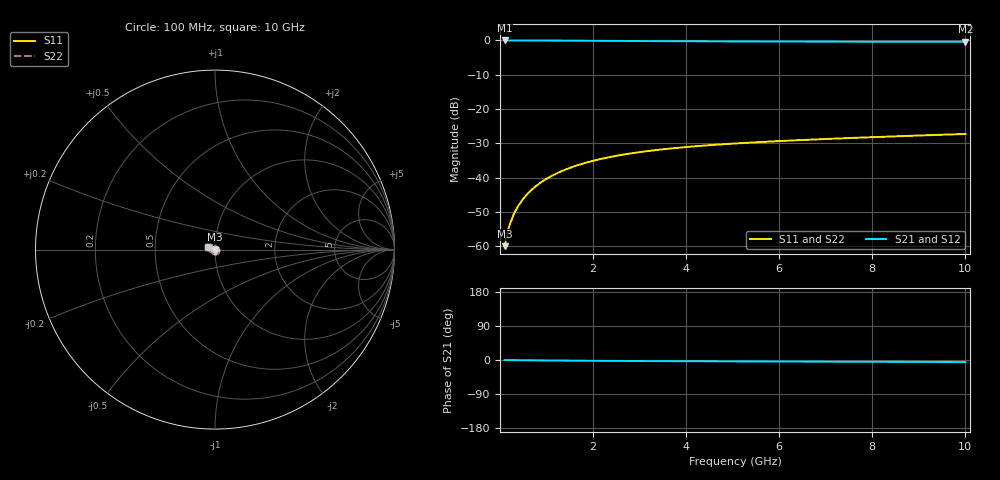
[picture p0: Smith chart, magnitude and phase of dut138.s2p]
! Touchstone file exported from HFSS 2024.1.0
!  File:  C:/UserFiles/LocalFiles/RDL_TSV_Batchsim/temp_TSV1_138_1779380229.aedt
!  Generated:  12:24:57 AM May 22, 2026
!  Design:  TSV1
!  Project:  temp_TSV1_138_1779380229
!  Setup:  Setup1
!  Solution:  Sweep
! Variables:
!  dtsv = 8.49um
!  hbump = 3um
!  htsv = 82.73um
!  lrdl = 252.1521522um
!  p = 40
!  p1 = 54.57um
!  t = 500um
!  trdl = 3um
!  wrdl = 24.89489489um
# GHz S MA R 50.000000
! Terminal data exported
! Port[1] = TSV22_T1
! Port[2] = TSV22_T2
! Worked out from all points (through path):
!   100 points, 100 MHz to 10 GHz, reference 50 ohm
!   highest |S21| = 0.00 dB at 100 MHz (marker M1); lowest = -0.4 dB at 10 GHz (marker M2)
!   lowest |S11| = -59.9 dB at 100 MHz (marker M3), VSWR 1.00, Z = 50 - j0.0994 ohm
!   |S11| at or under -10 dB: start of sweep to end of sweep
!   |S22| runs from -59.9 to -27.2 dB; largest |S21 - S12| = 3.5e-15
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0.1  0.001008 -80.4  0.9998 -0.1  0.9998 -0.1  0.001008 -80.4
! Gamma 0 0 0 0
! Port Impedance 50 0 50 0
0.2  0.001992 -88.0  0.9996 -0.2  0.9996 -0.2  0.001992 -88.0
0.3  0.002982 -92.0  0.9994 -0.4  0.9994 -0.4  0.002982 -92.0
0.4  0.003967 -95.1  0.9992 -0.5  0.9992 -0.5  0.003967 -95.1
0.5  0.004944 -97.7  0.9989 -0.6  0.9989 -0.6  0.004944 -97.7
0.6  0.005911 -100.1  0.9985 -0.7  0.9985 -0.7  0.005911 -100.1
0.7  0.006866 -102.4  0.998 -0.8  0.998 -0.8  0.006866 -102.5
0.8  0.007807 -104.7  0.9975 -0.9  0.9975 -0.9  0.007807 -104.7
0.9  0.008733 -106.8  0.997 -1.1  0.997 -1.1  0.008733 -106.8
1.1  0.01053 -111.0  0.9957 -1.3  0.9957 -1.3  0.01053 -111.0
1.4  0.01309 -116.8  0.9936 -1.6  0.9936 -1.6  0.01309 -116.8
1.6  0.0147 -120.6  0.992 -1.7  0.992 -1.7  0.0147 -120.6
1.8  0.01621 -124.2  0.9903 -1.9  0.9903 -1.9  0.01621 -124.2
2.1  0.01833 -129.3  0.9878 -2.2  0.9878 -2.2  0.01833 -129.3
2.5  0.02087 -135.7  0.9845 -2.4  0.9845 -2.4  0.02087 -135.7
2.9  0.0231 -141.6  0.9813 -2.7  0.9813 -2.7  0.0231 -141.6
3.4  0.02553 -148.4  0.9776 -2.9  0.9776 -2.9  0.02553 -148.4
4.2  0.02875 -157.9  0.9725 -3.3  0.9725 -3.3  0.02875 -157.9
5.1  0.0317 -167.1  0.9679 -3.7  0.9679 -3.7  0.0317 -167.1
6.7  0.03597 179.5  0.9622 -4.2  0.9622 -4.2  0.03597 179.5
8.4  0.03991 168.2  0.9583 -4.9  0.9583 -4.9  0.03991 168.2
10  0.04343 159.4  0.9557 -5.4  0.9557 -5.4  0.04343 159.4
